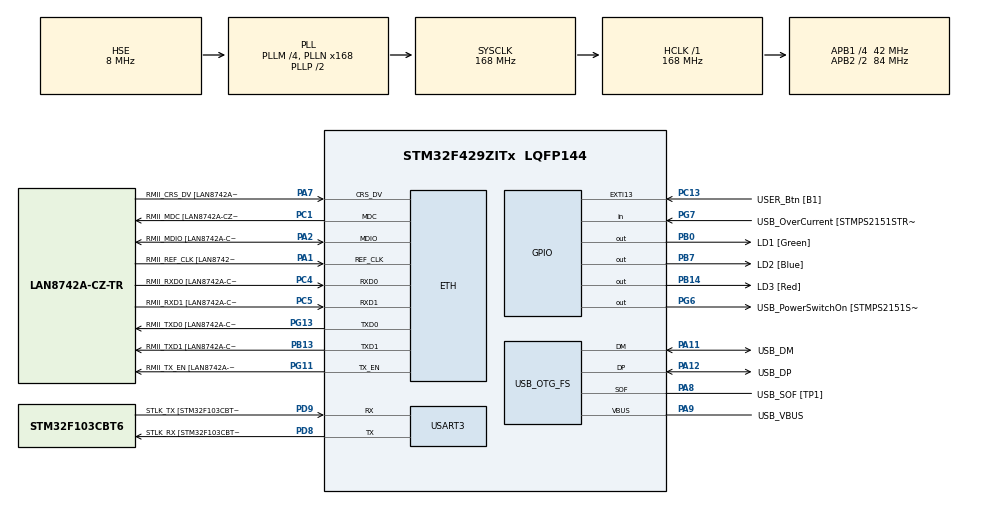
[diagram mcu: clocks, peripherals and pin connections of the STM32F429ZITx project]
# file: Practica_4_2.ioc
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ETH.MediaInterface=HAL_ETH_RMII_MODE
ETH.PHY_Name=LAN8742A_PHY_ADDRESS
ETH.PHY_Value=0
ETH.PhyAddress=0
Mcu.Family=STM32F4
Mcu.Name=STM32F429ZITx
Mcu.Package=LQFP144
NVIC.PriorityGroup=NVIC_PRIORITYGROUP_4
PA1.GPIO_Label=RMII_REF_CLK [LAN8742A-CZ-TR_REFCLK0]
PA1.Mode=RMII
PA1.Signal=ETH_REF_CLK
PA10.GPIO_Label=USB_ID
PA10.Signal=USB_OTG_FS_ID
PA11.GPIO_Label=USB_DM
PA11.Mode=Device_Only
PA11.Signal=USB_OTG_FS_DM
PA12.GPIO_Label=USB_DP
PA12.Mode=Device_Only
PA12.Signal=USB_OTG_FS_DP
PA13.GPIO_Label=TMS
PA13.Mode=Serial_Wire
PA13.Signal=SYS_JTMS-SWDIO
PA14.GPIO_Label=TCK
PA14.Mode=Serial_Wire
PA14.Signal=SYS_JTCK-SWCLK
PA2.GPIO_Label=RMII_MDIO [LAN8742A-CZ-TR_MDIO]
PA2.Mode=RMII
PA2.Signal=ETH_MDIO
PA7.GPIO_Label=RMII_CRS_DV [LAN8742A-CZ-TR_CRS_DV]
PA7.Mode=RMII
PA7.Signal=ETH_CRS_DV
PA8.GPIO_Label=USB_SOF [TP1]
PA8.Mode=Activate_SOF_FS
PA8.Signal=USB_OTG_FS_SOF
PA9.GPIO_Label=USB_VBUS
PA9.Mode=Activate_VBUS
PA9.Signal=USB_OTG_FS_VBUS
PB0.GPIO_Label=LD1 [Green]
PB0.Signal=GPIO_Output
PB13.GPIO_Label=RMII_TXD1 [LAN8742A-CZ-TR_TXD1]
PB13.Mode=RMII
PB13.Signal=ETH_TXD1
PB14.GPIO_Label=LD3 [Red]
PB14.Signal=GPIO_Output
PB7.GPIO_Label=LD2 [Blue]
PB7.Signal=GPIO_Output
PC1.GPIO_Label=RMII_MDC [LAN8742A-CZ-TR_MDC]
PC1.Mode=RMII
PC1.Signal=ETH_MDC
PC13.GPIO_Label=USER_Btn [B1]
PC13.Signal=GPXTI13
PC14/OSC32_IN.Mode=LSE-External-Oscillator
PC14/OSC32_IN.Signal=RCC_OSC32_IN
PC15/OSC32_OUT.Mode=LSE-External-Oscillator
PC15/OSC32_OUT.Signal=RCC_OSC32_OUT
PC4.GPIO_Label=RMII_RXD0 [LAN8742A-CZ-TR_RXD0]
PC4.Mode=RMII
PC4.Signal=ETH_RXD0
PC5.GPIO_Label=RMII_RXD1 [LAN8742A-CZ-TR_RXD1]
PC5.Mode=RMII
PC5.Signal=ETH_RXD1
PD8.GPIO_Label=STLK_RX [STM32F103CBT6_PA3]
PD8.Mode=Asynchronous
PD8.Signal=USART3_TX
PD9.GPIO_Label=STLK_TX [STM32F103CBT6_PA2]
PD9.Mode=Asynchronous
PD9.Signal=USART3_RX
PG11.GPIO_Label=RMII_TX_EN [LAN8742A-CZ-TR_TXEN]
PG11.Mode=RMII
PG11.Signal=ETH_TX_EN
PG13.GPIO_Label=RMII_TXD0 [LAN8742A-CZ-TR_TXD0]
PG13.Mode=RMII
PG13.Signal=ETH_TXD0
PG6.GPIO_Label=USB_PowerSwitchOn [STMPS2151STR_EN]
PG6.Signal=GPIO_Output
PG7.GPIO_Label=USB_OverCurrent [STMPS2151STR_FAULT]
PG7.Signal=GPIO_Input
PH0/OSC_IN.GPIO_Label=MCO [STM32F103CBT6_PA8]
PH0/OSC_IN.Mode=HSE-External-Clock-Source
PH0/OSC_IN.Signal=RCC_OSC_IN
PH1/OSC_OUT.Mode=HSE-External-Clock-Source
PH1/OSC_OUT.Signal=RCC_OSC_OUT
ProjectManager.HeapSize=0x200
ProjectManager.StackSize=0x400
ProjectManager.TargetToolchain=STM32CubeIDE
RCC.48MHZClocksFreq_Value=48000000
RCC.AHBFreq_Value=168000000
RCC.APB1CLKDivider=RCC_HCLK_DIV4
RCC.APB1Freq_Value=42000000
RCC.APB1TimFreq_Value=84000000
RCC.APB2CLKDivider=RCC_HCLK_DIV2
RCC.APB2Freq_Value=84000000
RCC.APB2TimCLKDivider=2
RCC.APB2TimFreq_Value=168000000
RCC.CortexFreq_Value=168000000
RCC.HCLKFreq_Value=168000000
RCC.HSE_VALUE=8000000
RCC.HSI_VALUE=16000000
RCC.PLLM=4
RCC.PLLMUL=RCC_PLL_MUL9
RCC.PLLN=168
RCC.PLLQ=7
RCC.PRESCALERUSB=RCC_USBCLKSOURCE_PLL_DIV1_5
RCC.SYSCLKFreq_VALUE=168000000
RCC.SYSCLKSource=RCC_SYSCLKSOURCE_PLLCLK
RCC.SYSCLKSourceVirtual=RCC_SYSCLKSOURCE_PLLCLK
RCC.USBFreq_Value=48000000
RCC.VCOOutputFreq_Value=336000000
USART3.VirtualMode=VM_ASYNC
USB_OTG_FS.VirtualMode=Device_Only
board=NUCLEO-F429ZI

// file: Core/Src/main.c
/* USER CODE BEGIN Header */
/**
  ******************************************************************************
  * @file           : main.c
  * @brief          : Main program body
  ******************************************************************************
  * @attention
  *
  * Copyright (c) 2023 STMicroelectronics.
  * All rights reserved.
  *
  * This software is licensed under terms that can be found in the LICENSE file
  * in the root directory of this software component.
  * If no LICENSE file comes with this software, it is provided AS-IS.
  *
  ******************************************************************************
  */
/* USER CODE END Header */
#include "main.h"
#include "string.h"

/* USER CODE BEGIN Includes */
#include "API_debounce.h"
#include "API_delay.h"
/* USER CODE END Includes */

/* USER CODE BEGIN PD */
#define NUMBER_OF_FREQUENCY		2
/* USER CODE END PD */

ETH_TxPacketConfig TxConfig;
ETH_DMADescTypeDef  DMARxDscrTab[ETH_RX_DESC_CNT]; /* Ethernet Rx DMA Descriptors */
ETH_DMADescTypeDef  DMATxDscrTab[ETH_TX_DESC_CNT]; /* Ethernet Tx DMA Descriptors */

ETH_HandleTypeDef heth;

UART_HandleTypeDef huart3;

PCD_HandleTypeDef hpcd_USB_OTG_FS;

void SystemClock_Config(void);
static void MX_GPIO_Init(void);
static void MX_ETH_Init(void);
static void MX_USART3_UART_Init(void);
static void MX_USB_OTG_FS_PCD_Init(void);

int main(void)
{
  /* USER CODE BEGIN 1 */
	  tick_t freqToggle[2] = {100,500};			// This array contains the time in miliseconds that will be used for timming of toggle.
	  uint8_t counter = 0;						// This integer is used for indexing the previous declared array "fregToggle[2]".
	  delay_t delayToggle;
  /* USER CODE END 1 */

  /* MCU Configuration--------------------------------------------------------*/

  /* Reset of all peripherals, Initializes the Flash interface and the Systick. */
  HAL_Init();

  /* Configure the system clock */
  SystemClock_Config();

  /* Initialize all configured peripherals */
  MX_GPIO_Init();
  MX_ETH_Init();
  MX_USART3_UART_Init();
  MX_USB_OTG_FS_PCD_Init();

  /* Infinite loop */
  /* USER CODE BEGIN WHILE */

  /*
   * Initializes the debounce FSM
   * and the toggle delay
   */

  debounceFSM_init();													// FSM
  delayInit(&delayToggle, freqToggle[counter]); 						// Toggle delay
  while (1)
  {
	  debounceFSM_update();												// Update the FSM

	  /*
	   * This condition is executed if the botton is pressed
	   * the conditional will change the value of the toggle delay
	   * increasing the value of "counter"
	   */

	  if(readKey())
	  {
		  counter++;

		  /*
		   * NUMBER_OF_FREQUENCY is used to limit the value of counter less than two
		   */

		  if(counter >= NUMBER_OF_FREQUENCY)
			  counter = 0;
		  delayWrite(&delayToggle,freqToggle[counter]);
	  }

	  /*
	   * if "delayToggle" reached the toggle timming value (100ms or 500ms), TOGGLES THE LED!
	   */

	  if(delayRead(&delayToggle))
		  HAL_GPIO_TogglePin(GPIOB,LD2_Pin);

    /* USER CODE END WHILE */

  }
}

void SystemClock_Config(void)
{
  RCC_OscInitTypeDef RCC_OscInitStruct = {0};
  RCC_ClkInitTypeDef RCC_ClkInitStruct = {0};

  /** Configure the main internal regulator output voltage
  */
  __HAL_RCC_PWR_CLK_ENABLE();
  __HAL_PWR_VOLTAGESCALING_CONFIG(PWR_REGULATOR_VOLTAGE_SCALE1);

  /** Initializes the RCC Oscillators according to the specified parameters
  * in the RCC_OscInitTypeDef structure.
  */
  RCC_OscInitStruct.OscillatorType = RCC_OSCILLATORTYPE_HSE;
  RCC_OscInitStruct.HSEState = RCC_HSE_BYPASS;
  RCC_OscInitStruct.PLL.PLLState = RCC_PLL_ON;
  RCC_OscInitStruct.PLL.PLLSource = RCC_PLLSOURCE_HSE;
  RCC_OscInitStruct.PLL.PLLM = 4;
  RCC_OscInitStruct.PLL.PLLN = 168;
  RCC_OscInitStruct.PLL.PLLP = RCC_PLLP_DIV2;
  RCC_OscInitStruct.PLL.PLLQ = 7;
  if (HAL_RCC_OscConfig(&RCC_OscInitStruct) != HAL_OK)
  {
    Error_Handler();
  }

  /** Initializes the CPU, AHB and APB buses clocks
  */
  RCC_ClkInitStruct.ClockType = RCC_CLOCKTYPE_HCLK|RCC_CLOCKTYPE_SYSCLK
                              |RCC_CLOCKTYPE_PCLK1|RCC_CLOCKTYPE_PCLK2;
  RCC_ClkInitStruct.SYSCLKSource = RCC_SYSCLKSOURCE_PLLCLK;
  RCC_ClkInitStruct.AHBCLKDivider = RCC_SYSCLK_DIV1;
  RCC_ClkInitStruct.APB1CLKDivider = RCC_HCLK_DIV4;
  RCC_ClkInitStruct.APB2CLKDivider = RCC_HCLK_DIV2;

  if (HAL_RCC_ClockConfig(&RCC_ClkInitStruct, FLASH_LATENCY_5) != HAL_OK)
  {
    Error_Handler();
  }
}

static void MX_ETH_Init(void)
{

   static uint8_t MACAddr[6];

  heth.Instance = ETH;
  MACAddr[0] = 0x00;
  MACAddr[1] = 0x80;
  MACAddr[2] = 0xE1;
  MACAddr[3] = 0x00;
  MACAddr[4] = 0x00;
  MACAddr[5] = 0x00;
  heth.Init.MACAddr = &MACAddr[0];
  heth.Init.MediaInterface = HAL_ETH_RMII_MODE;
  heth.Init.TxDesc = DMATxDscrTab;
  heth.Init.RxDesc = DMARxDscrTab;
  heth.Init.RxBuffLen = 1524;

  if (HAL_ETH_Init(&heth) != HAL_OK)
  {
    Error_Handler();
  }

  memset(&TxConfig, 0 , sizeof(ETH_TxPacketConfig));
  TxConfig.Attributes = ETH_TX_PACKETS_FEATURES_CSUM | ETH_TX_PACKETS_FEATURES_CRCPAD;
  TxConfig.ChecksumCtrl = ETH_CHECKSUM_IPHDR_PAYLOAD_INSERT_PHDR_CALC;
  TxConfig.CRCPadCtrl = ETH_CRC_PAD_INSERT;

}

static void MX_USART3_UART_Init(void)
{

  huart3.Instance = USART3;
  huart3.Init.BaudRate = 115200;
  huart3.Init.WordLength = UART_WORDLENGTH_8B;
  huart3.Init.StopBits = UART_STOPBITS_1;
  huart3.Init.Parity = UART_PARITY_NONE;
  huart3.Init.Mode = UART_MODE_TX_RX;
  huart3.Init.HwFlowCtl = UART_HWCONTROL_NONE;
  huart3.Init.OverSampling = UART_OVERSAMPLING_16;
  if (HAL_UART_Init(&huart3) != HAL_OK)
  {
    Error_Handler();
  }

}

static void MX_USB_OTG_FS_PCD_Init(void)
{

  hpcd_USB_OTG_FS.Instance = USB_OTG_FS;
  hpcd_USB_OTG_FS.Init.dev_endpoints = 4;
  hpcd_USB_OTG_FS.Init.speed = PCD_SPEED_FULL;
  hpcd_USB_OTG_FS.Init.dma_enable = DISABLE;
  hpcd_USB_OTG_FS.Init.phy_itface = PCD_PHY_EMBEDDED;
  hpcd_USB_OTG_FS.Init.Sof_enable = ENABLE;
  hpcd_USB_OTG_FS.Init.low_power_enable = DISABLE;
  hpcd_USB_OTG_FS.Init.lpm_enable = DISABLE;
  hpcd_USB_OTG_FS.Init.vbus_sensing_enable = ENABLE;
  hpcd_USB_OTG_FS.Init.use_dedicated_ep1 = DISABLE;
  if (HAL_PCD_Init(&hpcd_USB_OTG_FS) != HAL_OK)
  {
    Error_Handler();
  }

}

static void MX_GPIO_Init(void)
{
  GPIO_InitTypeDef GPIO_InitStruct = {0};

  /* GPIO Ports Clock Enable */
  __HAL_RCC_GPIOC_CLK_ENABLE();
  __HAL_RCC_GPIOH_CLK_ENABLE();
  __HAL_RCC_GPIOA_CLK_ENABLE();
  __HAL_RCC_GPIOB_CLK_ENABLE();
  __HAL_RCC_GPIOD_CLK_ENABLE();
  __HAL_RCC_GPIOG_CLK_ENABLE();

  /*Configure GPIO pin Output Level */
  HAL_GPIO_WritePin(GPIOB, LD1_Pin|LD3_Pin|LD2_Pin, GPIO_PIN_RESET);

  /*Configure GPIO pin Output Level */
  HAL_GPIO_WritePin(USB_PowerSwitchOn_GPIO_Port, USB_PowerSwitchOn_Pin, GPIO_PIN_RESET);

  /*Configure GPIO pin : USER_Btn_Pin */
  GPIO_InitStruct.Pin = USER_Btn_Pin;
  GPIO_InitStruct.Mode = GPIO_MODE_IT_RISING;
  GPIO_InitStruct.Pull = GPIO_NOPULL;
  HAL_GPIO_Init(USER_Btn_GPIO_Port, &GPIO_InitStruct);

  /*Configure GPIO pins : LD1_Pin LD3_Pin LD2_Pin */
  GPIO_InitStruct.Pin = LD1_Pin|LD3_Pin|LD2_Pin;
  GPIO_InitStruct.Mode = GPIO_MODE_OUTPUT_PP;
  GPIO_InitStruct.Pull = GPIO_NOPULL;
  GPIO_InitStruct.Speed = GPIO_SPEED_FREQ_LOW;
  HAL_GPIO_Init(GPIOB, &GPIO_InitStruct);

  /*Configure GPIO pin : USB_PowerSwitchOn_Pin */
  GPIO_InitStruct.Pin = USB_PowerSwitchOn_Pin;
  GPIO_InitStruct.Mode = GPIO_MODE_OUTPUT_PP;
  GPIO_InitStruct.Pull = GPIO_NOPULL;
  GPIO_InitStruct.Speed = GPIO_SPEED_FREQ_LOW;
  HAL_GPIO_Init(USB_PowerSwitchOn_GPIO_Port, &GPIO_InitStruct);

  /*Configure GPIO pin : USB_OverCurrent_Pin */
  GPIO_InitStruct.Pin = USB_OverCurrent_Pin;
  GPIO_InitStruct.Mode = GPIO_MODE_INPUT;
  GPIO_InitStruct.Pull = GPIO_NOPULL;
  HAL_GPIO_Init(USB_OverCurrent_GPIO_Port, &GPIO_InitStruct);

}

void Error_Handler(void)
{
  __disable_irq();
  while (1)
  {
  }
}
